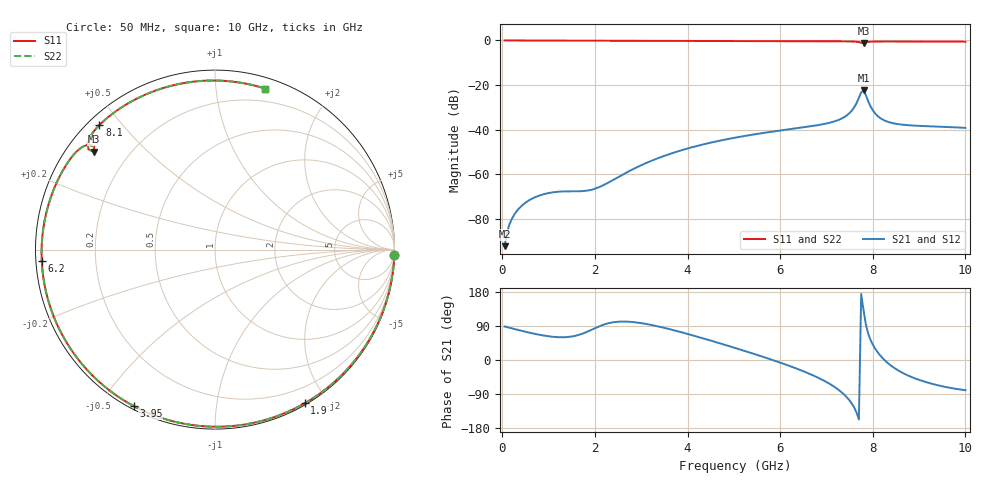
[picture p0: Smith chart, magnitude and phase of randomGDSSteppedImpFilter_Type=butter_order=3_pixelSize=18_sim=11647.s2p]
! freq	dB(S11)	phase(S11)	dB(S12)	phase(S12)
!  dB(S21)	phase(S21)	dB(S22)	phase(S22)
!S-par simulation data
#  GHz  S  DB  R 50
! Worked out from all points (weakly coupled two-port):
!   200 points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, 50 MHz to 10 GHz, reference 50 ohm
!   highest |S21| = -22.42 dB at 7.8 GHz (marker M1); lowest = -92.2 dB at 50 MHz (marker M2)
!   lowest |S11| = -1.2 dB at 7.8 GHz (marker M3), VSWR 14.09, Z = 3.99 + j17.6 ohm
!   |S11| at or under -10 dB: nowhere
!   |S22| runs from -1.2 to 0.0 dB; largest |S21 - S12| = 0
!   S11 on the Smith chart (normalised r, x): 50 MHz: 0, -70; 1.9 GHz: 0.02, -1.74; 3.95 GHz: 0.01, -0.61; 6.2 GHz: 0.02, -0.03; 8.1 GHz: 0.03, +0.44; 10 GHz: 0.09, +1.36
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0.05  -0.00 -1.6  -92.17 88.4  -92.17 88.4  -0.00 -1.6
0.2  -0.01 -6.5  -80.21 83.6  -80.21 83.6  -0.01 -6.5
0.45  -0.02 -14.5  -73.52 76.0  -73.52 76.0  -0.02 -14.5
0.8  -0.03 -25.7  -69.49 66.6  -69.49 66.6  -0.03 -25.7
1.15  -0.05 -36.7  -67.89 60.7  -67.89 60.7  -0.05 -36.7
1.75  -0.07 -55.2  -67.48 70.4  -67.48 70.4  -0.07 -55.2
1.9  -0.07 -59.7  -67.02 78.2  -67.02 78.2  -0.07 -59.7
2.65  -0.10 -81.7  -59.54 101.4  -59.54 101.4  -0.10 -81.7
3.4  -0.13 -102.7  -52.46 87.6  -52.46 87.6  -0.13 -102.7
3.95  -0.15 -117.5  -48.71 70.5  -48.71 70.5  -0.15 -117.5
5.05  -0.21 -146.3  -43.46 30.9  -43.46 30.9  -0.21 -146.3
6.2  -0.29 -176.3  -39.79 -15.6  -39.79 -15.6  -0.29 -176.3
6.7  -0.33 170.4  -38.34 -39.9  -38.34 -39.9  -0.33 170.4
7.4  -0.41 150.6  -34.14 -93.4  -34.14 -93.4  -0.41 150.6
7.6  -0.51 144.1  -29.92 -125.6  -29.92 -125.6  -0.51 144.1
7.75  -1.06 139.4  -23.26 174.2  -23.26 174.2  -1.06 139.4
7.8  -1.23 141.1  -22.42 132.3  -22.42 132.3  -1.24 141.1
7.95  -0.56 138.1  -29.47 53.4  -29.47 53.4  -0.57 138.1
8.1  -0.47 132.9  -33.76 21.5  -33.76 21.5  -0.47 132.9
8.35  -0.46 124.9  -36.62 -10.7  -36.62 -10.7  -0.46 124.9
9.2  -0.51 98.4  -38.45 -60.1  -38.45 -60.1  -0.50 98.4
10  -0.54 72.6  -39.17 -79.7  -39.17 -79.7  -0.54 72.6
